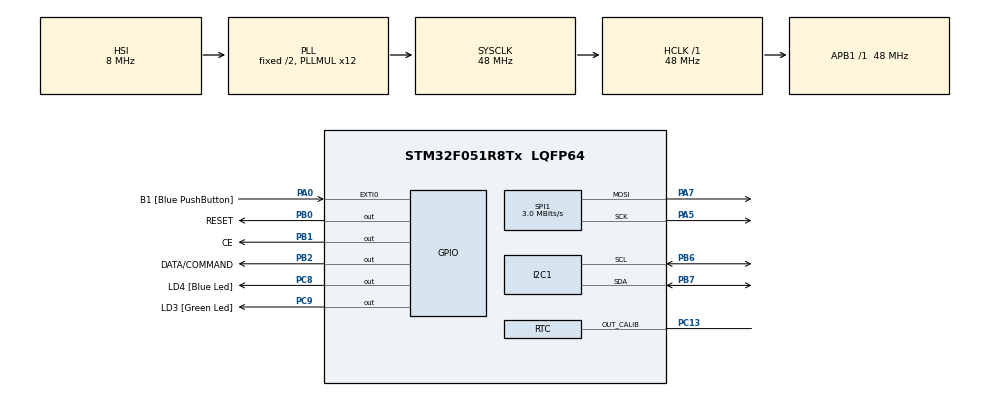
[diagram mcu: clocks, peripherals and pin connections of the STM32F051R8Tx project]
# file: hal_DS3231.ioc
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Mcu.Family=STM32F0
Mcu.Name=STM32F051R8Tx
Mcu.Package=LQFP64
NVIC.EXTI0_1_IRQn=true\:2\:0\:true\:false\:true
NVIC.RTC_IRQn=true\:0\:0\:false\:false\:true
NVIC.TIM3_IRQn=true\:0\:0\:false\:false\:true
PA0.GPIO_Label=B1 [Blue PushButton]
PA0.GPIO_ModeDefaultEXTI=GPIO_MODE_IT_FALLING
PA0.Signal=GPXTI0
PA13.GPIO_Label=SWDIO
PA13.Mode=Serial_Wire
PA13.Signal=SYS_SWDIO
PA14.GPIO_Label=SWCLK
PA14.Mode=Serial_Wire
PA14.Signal=SYS_SWCLK
PA5.GPIO_PuPd=GPIO_PULLUP
PA5.Mode=TX_Only_Simplex_Unidirect_Master
PA5.Signal=SPI1_SCK
PA7.GPIO_PuPd=GPIO_PULLDOWN
PA7.Mode=TX_Only_Simplex_Unidirect_Master
PA7.Signal=SPI1_MOSI
PB0.GPIO_Label=RESET
PB0.GPIO_PuPd=GPIO_PULLUP
PB0.Signal=GPIO_Output
PB1.GPIO_Label=CE
PB1.GPIO_PuPd=GPIO_PULLUP
PB1.Signal=GPIO_Output
PB2.GPIO_Label=DATA/COMMAND
PB2.GPIO_PuPd=GPIO_NOPULL
PB2.Signal=GPIO_Output
PB6.Mode=I2C
PB6.Signal=I2C1_SCL
PB7.Mode=I2C
PB7.Signal=I2C1_SDA
PC13.Mode=Calibration_512Hz
PC13.Signal=RTC_OUT_CALIB
PC8.GPIO_Label=LD4 [Blue Led]
PC8.Signal=GPIO_Output
PC9.GPIO_Label=LD3 [Green Led]
PC9.Signal=GPIO_Output
ProjectManager.HeapSize=0x200
ProjectManager.StackSize=0x400
ProjectManager.TargetToolchain=MDK-ARM V5
RCC.AHBFreq_Value=48000000
RCC.APB1Freq_Value=48000000
RCC.APB1TimFreq_Value=48000000
RCC.HCLKFreq_Value=48000000
RCC.PLLMUL=RCC_PLL_MUL12
RCC.SYSCLKFreq_VALUE=48000000
RCC.SYSCLKSource=RCC_SYSCLKSOURCE_PLLCLK
RTC.Hours=23
RTC.Minutes=58
RTC.Year=0
SPI1.BaudRatePrescaler=SPI_BAUDRATEPRESCALER_16
SPI1.CLKPhase=SPI_PHASE_2EDGE
SPI1.CLKPolarity=SPI_POLARITY_HIGH
SPI1.CalculateBaudRate=3.0 MBits/s
SPI1.DataSize=SPI_DATASIZE_8BIT
SPI1.Mode=SPI_MODE_MASTER
TIM3.Period=999
TIM3.Prescaler=(48000000/10000)-1
VP_RTC_VS_RTC_Alarm_A_Intern.Mode=Alarm A
VP_TIM3_VS_ClockSourceINT.Mode=Internal
board=STM32F0DISCOVERY

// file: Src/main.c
/**
  ******************************************************************************
  * File Name          : main.c
  * Description        : Main program body
  ******************************************************************************
  *
  * COPYRIGHT(c) 2016 STMicroelectronics
  *
  * Redistribution and use in source and binary forms, with or without modification,
  * are permitted provided that the following conditions are met:
  *   1. Redistributions of source code must retain the above copyright notice,
  *      this list of conditions and the following disclaimer.
  *   2. Redistributions in binary form must reproduce the above copyright notice,
  *      this list of conditions and the following disclaimer in the documentation
  *      and/or other materials provided with the distribution.
  *   3. Neither the name of STMicroelectronics nor the names of its contributors
  *      may be used to endorse or promote products derived from this software
  *      without specific prior written permission.
  *
  * THIS SOFTWARE IS PROVIDED BY THE COPYRIGHT HOLDERS AND CONTRIBUTORS "AS IS"
  * AND ANY EXPRESS OR IMPLIED WARRANTIES, INCLUDING, BUT NOT LIMITED TO, THE
  * IMPLIED WARRANTIES OF MERCHANTABILITY AND FITNESS FOR A PARTICULAR PURPOSE ARE
  * DISCLAIMED. IN NO EVENT SHALL THE COPYRIGHT HOLDER OR CONTRIBUTORS BE LIABLE
  * FOR ANY DIRECT, INDIRECT, INCIDENTAL, SPECIAL, EXEMPLARY, OR CONSEQUENTIAL
  * DAMAGES (INCLUDING, BUT NOT LIMITED TO, PROCUREMENT OF SUBSTITUTE GOODS OR
  * SERVICES; LOSS OF USE, DATA, OR PROFITS; OR BUSINESS INTERRUPTION) HOWEVER
  * CAUSED AND ON ANY THEORY OF LIABILITY, WHETHER IN CONTRACT, STRICT LIABILITY,
  * OR TORT (INCLUDING NEGLIGENCE OR OTHERWISE) ARISING IN ANY WAY OUT OF THE USE
  * OF THIS SOFTWARE, EVEN IF ADVISED OF THE POSSIBILITY OF SUCH DAMAGE.
  *
  ******************************************************************************
  */
#include "stm32f0xx_hal.h"
#include "i2c.h"
#include "rtc.h"
#include "spi.h"
#include "tim.h"
#include "gpio.h"
#include <stdbool.h>
#include "i2cutil.h"
#include "rtcutil.h"

/* USER CODE BEGIN PV */
/* Private variables ---------------------------------------------------------*/
uint8_t array[50] = {0};

/* USER CODE END PV */

void SystemClock_Config(void);
void Error_Handler(void);

/* USER CODE BEGIN PFP */
/* Private function prototypes -----------------------------------------------*/

/* USER CODE END PFP */

/* USER CODE BEGIN 0 */
#define DS3231_addr     0xD0 // I2C 7-bit slave address shifted for 1 bit to the left
#define DS3231_seconds  0x00 // DS3231 seconds address
#define DS3231_control  0x0E // DS3231 control register address
#define DS3231_tmp_MSB  0x11 // DS3231 temperature MSB

char *DOW[] = { "Monday", "Tuesday", "Wednesday", "Thursday", "Friday", "Saturday", "Sunday" };

//volatile uint8_t tm_ready = 0;
//volatile uint8_t conf_mode = 0;
extern uint8_t aTxBuffer[8];
uint8_t sec=0,min=0,hour=0,day=0,date=0,month=0,year=0,temp1=0,temp2=0;

// All DS3231 registers
typedef struct {
	uint8_t seconds;
	uint8_t minutes;
	uint8_t hours;
	uint8_t day;
	uint8_t date;
	uint8_t month;
	uint8_t year;
	uint8_t alarm1_secconds;
	uint8_t alarm1_minutes;
	uint8_t alarm1_hours;
	uint8_t alarm1_day;
	uint8_t alarm1_date;
	uint8_t alarm2_minutes;
	uint8_t alarm2_hours;
	uint8_t alarm2_day;
	uint8_t alarm2_date;
	uint8_t control;
	uint8_t status;
	uint8_t aging;
	uint8_t msb_temp;
	uint8_t lsb_temp;
} DS3231_registers_TypeDef;

// DS3231 date
typedef struct {
	uint8_t seconds;
	uint8_t minutes;
	uint8_t hours;
	uint8_t day_of_week;
	uint8_t date;
	uint8_t month;
	uint8_t year;
} DS3231_date_TypeDef;

// Human Readable Format date
typedef struct {
	uint8_t  Seconds;
	uint8_t  Minutes;
	uint8_t  Hours;
	uint8_t  Day;
	uint8_t  Month;
	uint16_t Year;
	uint8_t  DOW;
} HRF_date_TypeDef;

struct tm {
	int sec;      // 0 to 59
	int min;      // 0 to 59
	int hour;     // 0 to 23
	int mday;     // 1 to 31
	int mon;      // 1 to 12
	int year;     // year-99
	int wday;     // 1-7

    // 12-hour clock data
    bool am; // true for AM, false for PM
    int twelveHour; // 12 hour clock time
};

// statically allocated
struct tm _tm;

uint8_t dec2bcd(uint8_t d)
{
  return ((d/10 * 16) + (d % 10));
}

uint8_t bcd2dec(uint8_t b)
{
  return ((b/16 * 10) + (b % 16));
}

/* DS3231 register map
 *
 *  00h-06h: seconds, minutes, hours, day-of-week, date, month, year (all in BCD)
 *       bit 7 should be set to zero: The DS3231 clock is always running
 *  07h: A1M1  Alarm 1 seconds
 *  08h: A1M2  Alarm 1 minutes
 *  09h: A1M3  Alarm 1 hour (bit6 is am/pm flag in 12h mode)
 *  0ah: A1M4  Alarm 1 day/date (bit6: 1 for day, 0 for date)
 *  0bh: A2M2  Alarm 2 minutes
 *  0ch: A2M3  Alarm 2 hour (bit6 is am/pm flag in 12h mode)
 *  0dh: A2M4  Alarm 2 day/data (bit6: 1 for day, 0 for date)
 *       <see data sheet page12 for Alarm register mask bit tables:
 *        for alarm when hours, minutes and seconds match set 1000 for alarm 1>
 *  0eh: control
 *      bit7: !EOSC
 *      bit6: BBSQW
 *      bit5: CONV
 *      bit4: RS2
 *      bit3: RS1
 *      bit2: INTCN
 *      bit1: A2IE
 *      bit0: A1IE
 *  0fh: control/status
 *      bit7: OSF
 *      bit6: 0
 *      bit5: 0
 *      bit4: 0
 *      bit3: EN32kHz
 *      bit2: BSY
 *      bit1: A2F alarm 2 flag
 *      bit0: A1F alarm 1 flag
 * 10h: aging offset (signed)
 * 11h: MSB of temp (signed)
 * 12h: LSB of temp in bits 7 and 6 (0.25 degrees for each 00, 01, 10, 11)
 *
 */

struct tm* rtc_get_time(void)
{
	uint8_t rtc[9];
	uint8_t century = 0;

	// read 7 bytes starting from register 0
	// sec, min, hour, day-of-week, date, month, year
////	twi_begin_transmission(RTC_ADDR);
////	twi_send_byte(0x0);
////	twi_end_transmission();
	/* Format array to send */
	rtc[0] = DS3231_seconds;

	/* Send register address */
//	while(HAL_I2C_Master_Transmit(&hi2c1, (uint16_t)DS3231_addr, rtc, 1, 10000)!= HAL_OK)
//	while(I2C_Write_Byte(hi2c1, DS3231_addr, DS3231_seconds, 0)!= HAL_OK)
//	while (HAL_I2C_Master_Transmit(&hi2c1, (uint16_t)DS3231_addr, rtc, 1, 1000) != HAL_OK)
//	{
//		/* Error_Handler() function is called when Timeout error occurs.
//			 When Acknowledge failure occurs (Slave don't acknowledge its address)
//			 Master restarts communication */
//		if (HAL_I2C_GetError(&hi2c1) != HAL_I2C_ERROR_AF)
//		{
//			Error_Handler();
//		}
//	}

		aTxBuffer[0]=0;
	  I2C_WriteBuffer(hi2c1,(uint16_t)0xD0,1);//�խ������ ���ձ ��=��ڱ=Ծ
		while(HAL_I2C_GetState(&hi2c1)!=HAL_I2C_STATE_READY)
		{
		}
		I2C_ReadBuffer(hi2c1,(uint16_t)0xD0,7);

		//=========================================================
    year = aTxBuffer[6];
		year = RTC_ConvertFromDec(year);
    month = aTxBuffer[5];
		month = RTC_ConvertFromDec(month);
    date = aTxBuffer[4];
		date = RTC_ConvertFromDec(date);
    day = aTxBuffer[3];
		day = RTC_ConvertFromDec(day);
//=========================================================
    hour = aTxBuffer[2];
		hour = RTC_ConvertFromDec(hour);
    min = aTxBuffer[1];
		min = RTC_ConvertFromDec(min);
    sec = aTxBuffer[0];
		sec = RTC_ConvertFromDec(sec);

////	twi_request_from(RTC_ADDR, 7);

////	for (uint8_t i = 0; i < 7; i++) {
////		rtc[i] = twi_receive();
////	}
////	twi_end_transmission();
  /*##-3- Put I2C peripheral in reception process ############################*/
  /* Timeout is set to 10S */
  while(HAL_I2C_Master_Receive(&hi2c1, (uint16_t)DS3231_addr, (uint8_t *)rtc, 7, 10000) != HAL_OK)
  {
    /* Error_Handler() function is called when Timeout error occurs.
       When Acknowledge failure occurs (Slave don't acknowledge it's address)
       Master restarts communication */
    if (HAL_I2C_GetError(&hi2c1) != HAL_I2C_ERROR_AF)
    {
      Error_Handler();
    }
  }

////	// Clear clock halt bit from read data
////	// This starts the clock for a DS1307, and has no effect for a DS3231
////	rtc[0] &= ~(_BV(CH_BIT)); // clear bit

	_tm.sec = bcd2dec(rtc[0]);
	_tm.min = bcd2dec(rtc[1]);
	_tm.hour = bcd2dec(rtc[2]);
	_tm.mday = bcd2dec(rtc[4]);
	_tm.mon = bcd2dec(rtc[5] & 0x1F); // returns 1-12
	century = (rtc[5] & 0x80) >> 7;
	_tm.year = century == 1 ? 2000 + bcd2dec(rtc[6]) : 1900 + bcd2dec(rtc[6]); // year 0-99
	_tm.wday = bcd2dec(rtc[3]); // returns 1-7

	if (_tm.hour == 0) {
		_tm.twelveHour = 0;
		_tm.am = 1;
	} else if (_tm.hour < 12) {
		_tm.twelveHour = _tm.hour;
		_tm.am = 1;
	} else {
		_tm.twelveHour = _tm.hour - 12;
		_tm.am = 0;
	}

	return &_tm;
}

/* USER CODE END 0 */

int main(void)
{

  /* MCU Configuration----------------------------------------------------------*/

  /* Reset of all peripherals, Initializes the Flash interface and the Systick. */
  HAL_Init();

  /* Configure the system clock */
  SystemClock_Config();

  /* Initialize all configured peripherals */
  MX_GPIO_Init();
  MX_RTC_Init();
  MX_SPI1_Init();
  MX_I2C1_Init();
  MX_TIM3_Init();

  /* USER CODE BEGIN 2 */

	rtc_get_time();

  /* USER CODE END 2 */

  /* Infinite loop */
  while (1)
  {

  }

}

/** System Clock Configuration
*/
void SystemClock_Config(void)
{

  RCC_OscInitTypeDef RCC_OscInitStruct;
  RCC_ClkInitTypeDef RCC_ClkInitStruct;
  RCC_PeriphCLKInitTypeDef PeriphClkInit;

  RCC_OscInitStruct.OscillatorType = RCC_OSCILLATORTYPE_HSI|RCC_OSCILLATORTYPE_LSI;
  RCC_OscInitStruct.HSIState = RCC_HSI_ON;
  RCC_OscInitStruct.HSICalibrationValue = 16;
  RCC_OscInitStruct.LSIState = RCC_LSI_ON;
  RCC_OscInitStruct.PLL.PLLState = RCC_PLL_ON;
  RCC_OscInitStruct.PLL.PLLSource = RCC_PLLSOURCE_HSI;
  RCC_OscInitStruct.PLL.PLLMUL = RCC_PLL_MUL12;
  RCC_OscInitStruct.PLL.PREDIV = RCC_PREDIV_DIV1;
  if (HAL_RCC_OscConfig(&RCC_OscInitStruct) != HAL_OK)
  {
    Error_Handler();
  }

  RCC_ClkInitStruct.ClockType = RCC_CLOCKTYPE_HCLK|RCC_CLOCKTYPE_SYSCLK
                              |RCC_CLOCKTYPE_PCLK1;
  RCC_ClkInitStruct.SYSCLKSource = RCC_SYSCLKSOURCE_PLLCLK;
  RCC_ClkInitStruct.AHBCLKDivider = RCC_SYSCLK_DIV1;
  RCC_ClkInitStruct.APB1CLKDivider = RCC_HCLK_DIV1;
  if (HAL_RCC_ClockConfig(&RCC_ClkInitStruct, FLASH_LATENCY_1) != HAL_OK)
  {
    Error_Handler();
  }

  PeriphClkInit.PeriphClockSelection = RCC_PERIPHCLK_I2C1|RCC_PERIPHCLK_RTC;
  PeriphClkInit.I2c1ClockSelection = RCC_I2C1CLKSOURCE_HSI;
  PeriphClkInit.RTCClockSelection = RCC_RTCCLKSOURCE_LSI;
  if (HAL_RCCEx_PeriphCLKConfig(&PeriphClkInit) != HAL_OK)
  {
    Error_Handler();
  }

  HAL_SYSTICK_Config(HAL_RCC_GetHCLKFreq()/1000);

  HAL_SYSTICK_CLKSourceConfig(SYSTICK_CLKSOURCE_HCLK);

  /* SysTick_IRQn interrupt configuration */
  HAL_NVIC_SetPriority(SysTick_IRQn, 0, 0);
}

void Error_Handler(void)
{
  while(1)
  {
  }
}

/************************ (C) COPYRIGHT STMicroelectronics *****END OF FILE****/
